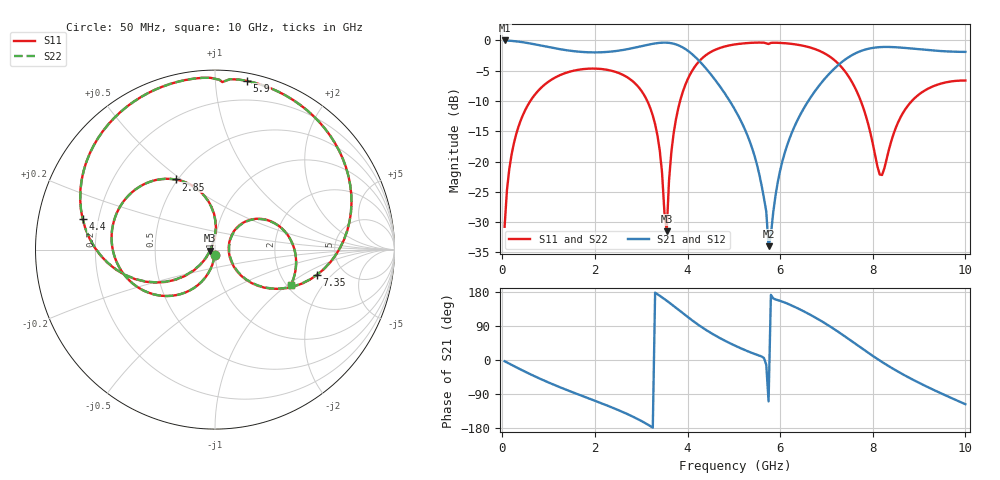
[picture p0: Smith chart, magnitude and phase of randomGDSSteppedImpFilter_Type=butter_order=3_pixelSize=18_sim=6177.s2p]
! freq	dB(S11)	phase(S11)	dB(S12)	phase(S12)
!  dB(S21)	phase(S21)	dB(S22)	phase(S22)
!S-par simulation data
#  GHz  S  DB  R 50
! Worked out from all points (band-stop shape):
!   200 points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, 50 MHz to 10 GHz, reference 50 ohm
!   highest |S21| = -0.01 dB at 50 MHz (marker M1); lowest = -34.0 dB at 5.75 GHz (marker M2)
!   |S21| within 3 dB of the highest: start of sweep to 4.203 GHz; 7.431 GHz to end of sweep
!   lowest |S11| = -31.5 dB at 3.55 GHz (marker M3), VSWR 1.05, Z = 47.5 - j0.52 ohm
!   |S11| at or under -10 dB: start of sweep to 606.5 MHz; 3.13 GHz to 3.84 GHz (709.9 MHz wide, 20.4 % of centre); 7.741 GHz to 8.844 GHz (1.103 GHz wide, 13.3 % of centre)
!   |S22| runs from -31.1 to -0.4 dB; largest |S21 - S12| = 0
!   S11 on the Smith chart (normalised r, x): 50 MHz: 0.99, -0.06; 2.85 GHz: 0.49, +0.48; 4.4 GHz: 0.14, +0.11; 5.9 GHz: 0.05, +1.21; 7.35 GHz: 3.20, -1.37; 10 GHz: 2.11, -1.06
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0.05  -30.77 -93.3  -0.01 -3.3  -0.01 -3.3  -30.77 -93.3
0.2  -18.87 -103.2  -0.08 -12.8  -0.08 -12.8  -18.87 -103.2
0.5  -11.43 -121.8  -0.37 -31.3  -0.37 -31.3  -11.43 -121.8
1.75  -4.74 173.6  -1.92 -96.0  -1.92 -96.0  -4.74 173.7
2.85  -6.97 119.3  -1.22 -151.3  -1.22 -151.3  -6.97 119.4
3.4  -18.16 87.6  -0.40 169.6  -0.40 169.6  -18.15 88.2
3.55  -31.49 -168.1  -0.37 156.5  -0.37 156.5  -31.09 -170.0
3.65  -18.48 -134.0  -0.46 147.3  -0.46 147.3  -18.46 -134.8
3.8  -11.20 -142.5  -0.80 133.0  -0.80 133.0  -11.19 -142.9
4.4  -2.42 167.0  -4.64 79.3  -4.64 79.3  -2.42 166.9
5.05  -0.63 124.6  -11.80 36.5  -11.80 36.5  -0.63 124.5
5.5  -0.36 99.8  -20.53 13.7  -20.53 13.7  -0.36 99.8
5.75  -0.59 87.5  -33.98 -109.2  -33.98 -109.2  -0.59 87.5
5.9  -0.39 79.2  -25.60 159.8  -25.60 159.8  -0.38 79.2
6.2  -0.53 62.4  -16.26 146.5  -16.26 146.5  -0.53 62.4
6.7  -1.29 32.1  -8.94 116.1  -8.94 116.1  -1.29 32.1
7.35  -4.63 -13.8  -3.46 66.4  -3.46 66.4  -4.63 -13.7
7.8  -11.24 -42.5  -1.59 27.6  -1.59 27.6  -11.22 -42.1
8.15  -22.14 -9.6  -1.11 -1.3  -1.11 -1.3  -21.89 -9.3
8.35  -18.00 41.4  -1.08 -16.6  -1.08 -16.6  -17.91 40.6
9.1  -8.38 20.0  -1.54 -66.3  -1.54 -66.3  -8.37 19.7
10  -6.62 -24.8  -1.90 -116.7  -1.90 -116.7  -6.62 -24.9
